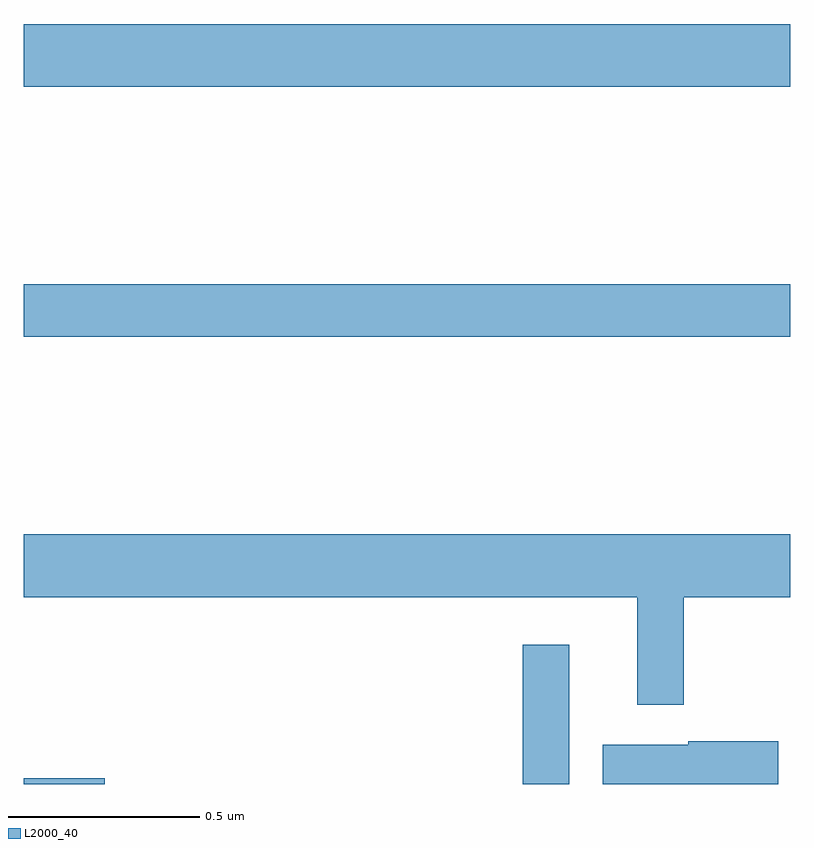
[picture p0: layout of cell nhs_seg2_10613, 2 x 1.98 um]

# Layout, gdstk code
import gdstk
lib = gdstk.Library(unit=1e-6, precision=1e-09)
def R(c, l, rs):  # rectangles x0, y0, x1, y1
    for r in rs: c.add(gdstk.rectangle(r[:2], r[2:], *l))
def P(c, l, *ps):  # polygons
    for p in ps: c.add(gdstk.Polygon(p, *l))
L2000_40 = (2000, 40)

nhs_seg2_10613 = lib.new_cell('nhs_seg2_10613')
R(nhs_seg2_10613, L2000_40, [(243,661.8,243.211,661.815), (244.302,661.8,244.423,662.164), (243,662.968,245,663.104), (243,663.62,245,663.784)])
P(nhs_seg2_10613, L2000_40, [(244.723,662.288),(245,662.288),(245,662.452),(243,662.452),(243,662.288),(244.601,662.288),(244.601,662.007),(244.723,662.007)],
  [(244.969,661.911),(244.734,661.911),(244.734,661.903),(244.511,661.903),(244.511,661.8),(244.969,661.8)])

lib.write_gds('nhs_seg2_10613.gds')
